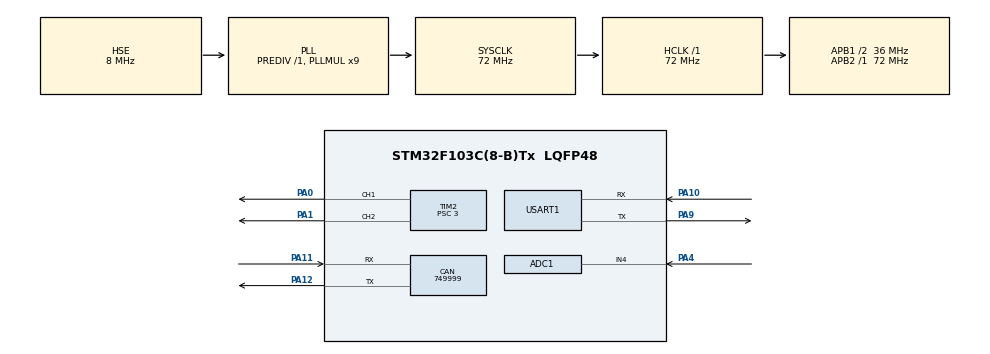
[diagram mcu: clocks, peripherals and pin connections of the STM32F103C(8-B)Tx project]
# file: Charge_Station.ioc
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ADC1.Channel-4\#ChannelRegularConversion=ADC_CHANNEL_4
ADC1.ContinuousConvMode=DISABLE
ADC1.EnableAnalogWatchDog=true
ADC1.EnableInjectedConversion=DISABLE
ADC1.EnableRegularConversion=ENABLE
ADC1.ExternalTrigConv=ADC_EXTERNALTRIGCONV_T4_CC4
ADC1.InjNumberOfConversion=1
ADC1.NbrOfConversion=1
ADC1.NbrOfConversionFlag=1
ADC1.Rank-4\#ChannelRegularConversion=1
ADC1.SamplingTime-4\#ChannelRegularConversion=ADC_SAMPLETIME_1CYCLE_5
ADC1.WatchdogChannel=ADC_CHANNEL_4
ADC1.master=1
CAN.BS1=CAN_BS1_1TQ
CAN.BS2=CAN_BS2_1TQ
CAN.CalculateBaudRate=749999
CAN.CalculateTimeBit=1333
CAN.CalculateTimeQuantum=444.44444444444446
Dma.ADC1.0.Direction=DMA_PERIPH_TO_MEMORY
Dma.ADC1.0.Instance=DMA1_Channel1
Dma.ADC1.0.MemDataAlignment=DMA_MDATAALIGN_HALFWORD
Dma.ADC1.0.MemInc=DMA_MINC_ENABLE
Dma.ADC1.0.Mode=DMA_CIRCULAR
Dma.ADC1.0.PeriphDataAlignment=DMA_PDATAALIGN_HALFWORD
Dma.ADC1.0.PeriphInc=DMA_PINC_DISABLE
Dma.ADC1.0.Priority=DMA_PRIORITY_LOW
Dma.Request0=ADC1
Mcu.Family=STM32F1
Mcu.Name=STM32F103C(8-B)Tx
Mcu.Package=LQFP48
NVIC.DMA1_Channel1_IRQn=true\:2\:0\:true\:false\:true\:false\:true\:true
NVIC.PriorityGroup=NVIC_PRIORITYGROUP_4
PA0-WKUP.Signal=S_TIM2_CH1_ETR
PA1.Signal=S_TIM2_CH2
PA10.Mode=Asynchronous
PA10.Signal=USART1_RX
PA11.Mode=CAN_Activate
PA11.Signal=CAN_RX
PA12.Mode=CAN_Activate
PA12.Signal=CAN_TX
PA4.Signal=ADCx_IN4
PA9.Mode=Asynchronous
PA9.Signal=USART1_TX
PD0-OSC_IN.Mode=HSE-External-Oscillator
PD0-OSC_IN.Signal=RCC_OSC_IN
PD1-OSC_OUT.Mode=HSE-External-Oscillator
PD1-OSC_OUT.Signal=RCC_OSC_OUT
ProjectManager.HeapSize=0x200
ProjectManager.StackSize=0x400
ProjectManager.TargetToolchain=STM32CubeIDE
RCC.ADCPresc=RCC_ADCPCLK2_DIV6
RCC.AHBFreq_Value=72000000
RCC.APB1CLKDivider=RCC_HCLK_DIV2
RCC.APB1Freq_Value=36000000
RCC.APB1TimFreq_Value=72000000
RCC.APB2Freq_Value=72000000
RCC.APB2TimFreq_Value=72000000
RCC.HCLKFreq_Value=72000000
RCC.PLLMUL=RCC_PLL_MUL9
RCC.PLLSourceVirtual=RCC_PLLSOURCE_HSE
RCC.SYSCLKFreq_VALUE=72000000
RCC.SYSCLKSource=RCC_SYSCLKSOURCE_PLLCLK
RCC.USBFreq_Value=72000000
SH.ADCx_IN4.0=ADC1_IN4,IN4
SH.S_TIM2_CH1_ETR.0=TIM2_CH1,PWM Generation1 CH1
SH.S_TIM2_CH2.0=TIM2_CH2,PWM Generation2 CH2
TIM2.Channel-PWM\ Generation1\ CH1=TIM_CHANNEL_1
TIM2.Channel-PWM\ Generation2\ CH2=TIM_CHANNEL_2
TIM2.CounterMode=TIM_COUNTERMODE_CENTERALIGNED1
TIM2.OCPolarity_1=TIM_OCPOLARITY_LOW
TIM2.OCPolarity_2=TIM_OCPOLARITY_HIGH
TIM2.Period=359
TIM2.Prescaler=3
TIM3.Period=65535
TIM3.Prescaler=35
TIM4.Channel-Output\ Compare4\ No\ Output=TIM_CHANNEL_4
TIM4.OCMode_4=TIM_OCMODE_TOGGLE
TIM4.Period=359
USART1.VirtualMode=VM_ASYNC
VP_TIM2_VS_ClockSourceINT.Mode=Internal
VP_TIM3_VS_ClockSourceINT.Mode=Internal
VP_TIM4_VS_no_output4.Mode=Output Compare4 No Output
board=custom

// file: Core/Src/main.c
/* USER CODE BEGIN Header */
/**
  ******************************************************************************
  * @file           : main.c
  * @brief          : Main program body
  ******************************************************************************
  * @attention
  *
  * Copyright (c) 2023 STMicroelectronics.
  * All rights reserved.
  *
  * This software is licensed under terms that can be found in the LICENSE file
  * in the root directory of this software component.
  * If no LICENSE file comes with this software, it is provided AS-IS.
  *
  ******************************************************************************
  */
/* USER CODE END Header */
#include "main.h"

/* USER CODE BEGIN Includes */
#include "ConfigADC.h"
#include "pid.h"
/* USER CODE END Includes */

/* USER CODE BEGIN PTD */
PID_TypeDef VoltagePID;
/* USER CODE END PTD */

/* USER CODE BEGIN PD */
double LOW_VOLTAGE = 0;
double HIGH_VOLTAGE = 0.96;
double UNIT_DUTY_CYCLE = 162/0.96;
/* USER CODE END PD */

ADC_HandleTypeDef hadc1;
DMA_HandleTypeDef hdma_adc1;

CAN_HandleTypeDef hcan;

TIM_HandleTypeDef htim2;
TIM_HandleTypeDef htim3;
TIM_HandleTypeDef htim4;

UART_HandleTypeDef huart1;

/* USER CODE BEGIN PV */
uint16_t time_us = 0;
float tempDutyCycle = 0;
double inputVoltageADC;
double outputVoltageADC;
double setpointVoltageADC = 0.8;
volatile uint16_t data[10] = {0,};
/* USER CODE END PV */

void SystemClock_Config(void);
static void MX_GPIO_Init(void);
static void MX_DMA_Init(void);
static void MX_CAN_Init(void);
static void MX_TIM2_Init(void);
static void MX_ADC1_Init(void);
static void MX_TIM4_Init(void);
static void MX_TIM3_Init(void);
static void MX_USART1_UART_Init(void);

/* USER CODE BEGIN 0 */
void Update_Duty_Cycle(uint16_t DutyCycle);

/* USER CODE END 0 */

int main(void)
{

  /* MCU Configuration--------------------------------------------------------*/

  /* Reset of all peripherals, Initializes the Flash interface and the Systick. */
  HAL_Init();

  /* Configure the system clock */
  SystemClock_Config();

  /* Initialize all configured peripherals */
  MX_GPIO_Init();
  MX_DMA_Init();
  MX_CAN_Init();
  MX_TIM2_Init();
  MX_ADC1_Init();
  MX_TIM4_Init();
  MX_TIM3_Init();
  MX_USART1_UART_Init();
  /* USER CODE BEGIN 2 */
  //Update_Duty_Cycle(50);

  PID(&VoltagePID, &inputVoltageADC, &outputVoltageADC, &setpointVoltageADC, 0.5, 1000, 0.000001, _PID_P_ON_E, _PID_CD_DIRECT);
  PID_SetMode(&VoltagePID, _PID_MODE_AUTOMATIC);
  PID_SetSampleTime(&VoltagePID, 40);
  PID_SetOutputLimits(&VoltagePID, LOW_VOLTAGE, HIGH_VOLTAGE);

  HAL_ADCEx_Calibration_Start(&hadc1);
  HAL_ADC_Start_DMA(&hadc1, (uint32_t*)&data, 10);
  HAL_TIM_OC_Start(&htim4, TIM_CHANNEL_4);

  HAL_TIM_Base_Start(&htim3);
  HAL_TIM_PWM_Start(&htim2, TIM_CHANNEL_1);
  HAL_TIM_PWM_Start(&htim2, TIM_CHANNEL_2);
  /* USER CODE END 2 */

  /* Infinite loop */
  while (1)
  {

  }
}

void SystemClock_Config(void)
{
  RCC_OscInitTypeDef RCC_OscInitStruct = {0};
  RCC_ClkInitTypeDef RCC_ClkInitStruct = {0};
  RCC_PeriphCLKInitTypeDef PeriphClkInit = {0};

  /** Initializes the RCC Oscillators according to the specified parameters
  * in the RCC_OscInitTypeDef structure.
  */
  RCC_OscInitStruct.OscillatorType = RCC_OSCILLATORTYPE_HSE;
  RCC_OscInitStruct.HSEState = RCC_HSE_ON;
  RCC_OscInitStruct.HSEPredivValue = RCC_HSE_PREDIV_DIV1;
  RCC_OscInitStruct.HSIState = RCC_HSI_ON;
  RCC_OscInitStruct.PLL.PLLState = RCC_PLL_ON;
  RCC_OscInitStruct.PLL.PLLSource = RCC_PLLSOURCE_HSE;
  RCC_OscInitStruct.PLL.PLLMUL = RCC_PLL_MUL9;
  if (HAL_RCC_OscConfig(&RCC_OscInitStruct) != HAL_OK)
  {
    Error_Handler();
  }

  /** Initializes the CPU, AHB and APB buses clocks
  */
  RCC_ClkInitStruct.ClockType = RCC_CLOCKTYPE_HCLK|RCC_CLOCKTYPE_SYSCLK
                              |RCC_CLOCKTYPE_PCLK1|RCC_CLOCKTYPE_PCLK2;
  RCC_ClkInitStruct.SYSCLKSource = RCC_SYSCLKSOURCE_PLLCLK;
  RCC_ClkInitStruct.AHBCLKDivider = RCC_SYSCLK_DIV1;
  RCC_ClkInitStruct.APB1CLKDivider = RCC_HCLK_DIV2;
  RCC_ClkInitStruct.APB2CLKDivider = RCC_HCLK_DIV1;

  if (HAL_RCC_ClockConfig(&RCC_ClkInitStruct, FLASH_LATENCY_2) != HAL_OK)
  {
    Error_Handler();
  }
  PeriphClkInit.PeriphClockSelection = RCC_PERIPHCLK_ADC;
  PeriphClkInit.AdcClockSelection = RCC_ADCPCLK2_DIV6;
  if (HAL_RCCEx_PeriphCLKConfig(&PeriphClkInit) != HAL_OK)
  {
    Error_Handler();
  }
}

static void MX_ADC1_Init(void)
{

  ADC_AnalogWDGConfTypeDef AnalogWDGConfig = {0};
  ADC_ChannelConfTypeDef sConfig = {0};

  /** Common config
  */
  hadc1.Instance = ADC1;
  hadc1.Init.ScanConvMode = ADC_SCAN_DISABLE;
  hadc1.Init.ContinuousConvMode = DISABLE;
  hadc1.Init.DiscontinuousConvMode = DISABLE;
  hadc1.Init.ExternalTrigConv = ADC_EXTERNALTRIGCONV_T4_CC4;
  hadc1.Init.DataAlign = ADC_DATAALIGN_RIGHT;
  hadc1.Init.NbrOfConversion = 1;
  if (HAL_ADC_Init(&hadc1) != HAL_OK)
  {
    Error_Handler();
  }

  /** Configure Analog WatchDog 1
  */
  AnalogWDGConfig.WatchdogMode = ADC_ANALOGWATCHDOG_SINGLE_REG;
  AnalogWDGConfig.HighThreshold = 0;
  AnalogWDGConfig.LowThreshold = 0;
  AnalogWDGConfig.Channel = ADC_CHANNEL_4;
  AnalogWDGConfig.ITMode = DISABLE;
  if (HAL_ADC_AnalogWDGConfig(&hadc1, &AnalogWDGConfig) != HAL_OK)
  {
    Error_Handler();
  }

  /** Configure Regular Channel
  */
  sConfig.Channel = ADC_CHANNEL_4;
  sConfig.Rank = ADC_REGULAR_RANK_1;
  sConfig.SamplingTime = ADC_SAMPLETIME_1CYCLE_5;
  if (HAL_ADC_ConfigChannel(&hadc1, &sConfig) != HAL_OK)
  {
    Error_Handler();
  }

}

static void MX_CAN_Init(void)
{

  hcan.Instance = CAN1;
  hcan.Init.Prescaler = 16;
  hcan.Init.Mode = CAN_MODE_NORMAL;
  hcan.Init.SyncJumpWidth = CAN_SJW_1TQ;
  hcan.Init.TimeSeg1 = CAN_BS1_1TQ;
  hcan.Init.TimeSeg2 = CAN_BS2_1TQ;
  hcan.Init.TimeTriggeredMode = DISABLE;
  hcan.Init.AutoBusOff = DISABLE;
  hcan.Init.AutoWakeUp = DISABLE;
  hcan.Init.AutoRetransmission = DISABLE;
  hcan.Init.ReceiveFifoLocked = DISABLE;
  hcan.Init.TransmitFifoPriority = DISABLE;
  if (HAL_CAN_Init(&hcan) != HAL_OK)
  {
    Error_Handler();
  }

}

static void MX_TIM2_Init(void)
{

  TIM_ClockConfigTypeDef sClockSourceConfig = {0};
  TIM_MasterConfigTypeDef sMasterConfig = {0};
  TIM_OC_InitTypeDef sConfigOC = {0};

  htim2.Instance = TIM2;
  htim2.Init.Prescaler = 3;
  htim2.Init.CounterMode = TIM_COUNTERMODE_CENTERALIGNED1;
  htim2.Init.Period = 359;
  htim2.Init.ClockDivision = TIM_CLOCKDIVISION_DIV1;
  htim2.Init.AutoReloadPreload = TIM_AUTORELOAD_PRELOAD_DISABLE;
  if (HAL_TIM_Base_Init(&htim2) != HAL_OK)
  {
    Error_Handler();
  }
  sClockSourceConfig.ClockSource = TIM_CLOCKSOURCE_INTERNAL;
  if (HAL_TIM_ConfigClockSource(&htim2, &sClockSourceConfig) != HAL_OK)
  {
    Error_Handler();
  }
  if (HAL_TIM_PWM_Init(&htim2) != HAL_OK)
  {
    Error_Handler();
  }
  sMasterConfig.MasterOutputTrigger = TIM_TRGO_RESET;
  sMasterConfig.MasterSlaveMode = TIM_MASTERSLAVEMODE_DISABLE;
  if (HAL_TIMEx_MasterConfigSynchronization(&htim2, &sMasterConfig) != HAL_OK)
  {
    Error_Handler();
  }
  sConfigOC.OCMode = TIM_OCMODE_PWM1;
  sConfigOC.Pulse = 0;
  sConfigOC.OCPolarity = TIM_OCPOLARITY_LOW;
  sConfigOC.OCFastMode = TIM_OCFAST_DISABLE;
  if (HAL_TIM_PWM_ConfigChannel(&htim2, &sConfigOC, TIM_CHANNEL_1) != HAL_OK)
  {
    Error_Handler();
  }
  sConfigOC.OCPolarity = TIM_OCPOLARITY_HIGH;
  if (HAL_TIM_PWM_ConfigChannel(&htim2, &sConfigOC, TIM_CHANNEL_2) != HAL_OK)
  {
    Error_Handler();
  }
  HAL_TIM_MspPostInit(&htim2);

}

static void MX_TIM3_Init(void)
{

  TIM_ClockConfigTypeDef sClockSourceConfig = {0};
  TIM_MasterConfigTypeDef sMasterConfig = {0};

  htim3.Instance = TIM3;
  htim3.Init.Prescaler = 35;
  htim3.Init.CounterMode = TIM_COUNTERMODE_UP;
  htim3.Init.Period = 65535;
  htim3.Init.ClockDivision = TIM_CLOCKDIVISION_DIV1;
  htim3.Init.AutoReloadPreload = TIM_AUTORELOAD_PRELOAD_DISABLE;
  if (HAL_TIM_Base_Init(&htim3) != HAL_OK)
  {
    Error_Handler();
  }
  sClockSourceConfig.ClockSource = TIM_CLOCKSOURCE_INTERNAL;
  if (HAL_TIM_ConfigClockSource(&htim3, &sClockSourceConfig) != HAL_OK)
  {
    Error_Handler();
  }
  sMasterConfig.MasterOutputTrigger = TIM_TRGO_RESET;
  sMasterConfig.MasterSlaveMode = TIM_MASTERSLAVEMODE_DISABLE;
  if (HAL_TIMEx_MasterConfigSynchronization(&htim3, &sMasterConfig) != HAL_OK)
  {
    Error_Handler();
  }

}

static void MX_TIM4_Init(void)
{

  TIM_MasterConfigTypeDef sMasterConfig = {0};
  TIM_OC_InitTypeDef sConfigOC = {0};

  htim4.Instance = TIM4;
  htim4.Init.Prescaler = 0;
  htim4.Init.CounterMode = TIM_COUNTERMODE_UP;
  htim4.Init.Period = 143;
  htim4.Init.ClockDivision = TIM_CLOCKDIVISION_DIV1;
  htim4.Init.AutoReloadPreload = TIM_AUTORELOAD_PRELOAD_DISABLE;
  if (HAL_TIM_OC_Init(&htim4) != HAL_OK)
  {
    Error_Handler();
  }
  sMasterConfig.MasterOutputTrigger = TIM_TRGO_RESET;
  sMasterConfig.MasterSlaveMode = TIM_MASTERSLAVEMODE_DISABLE;
  if (HAL_TIMEx_MasterConfigSynchronization(&htim4, &sMasterConfig) != HAL_OK)
  {
    Error_Handler();
  }
  sConfigOC.OCMode = TIM_OCMODE_TOGGLE;
  sConfigOC.Pulse = 0;
  sConfigOC.OCPolarity = TIM_OCPOLARITY_HIGH;
  sConfigOC.OCFastMode = TIM_OCFAST_DISABLE;
  if (HAL_TIM_OC_ConfigChannel(&htim4, &sConfigOC, TIM_CHANNEL_4) != HAL_OK)
  {
    Error_Handler();
  }

}

static void MX_USART1_UART_Init(void)
{

  huart1.Instance = USART1;
  huart1.Init.BaudRate = 115200;
  huart1.Init.WordLength = UART_WORDLENGTH_8B;
  huart1.Init.StopBits = UART_STOPBITS_1;
  huart1.Init.Parity = UART_PARITY_NONE;
  huart1.Init.Mode = UART_MODE_TX_RX;
  huart1.Init.HwFlowCtl = UART_HWCONTROL_NONE;
  huart1.Init.OverSampling = UART_OVERSAMPLING_16;
  if (HAL_UART_Init(&huart1) != HAL_OK)
  {
    Error_Handler();
  }

}

static void MX_DMA_Init(void)
{

  /* DMA controller clock enable */
  __HAL_RCC_DMA1_CLK_ENABLE();

  /* DMA interrupt init */
  /* DMA1_Channel1_IRQn interrupt configuration */
  HAL_NVIC_SetPriority(DMA1_Channel1_IRQn, 2, 0);
  HAL_NVIC_EnableIRQ(DMA1_Channel1_IRQn);

}

static void MX_GPIO_Init(void)
{

  /* GPIO Ports Clock Enable */
  __HAL_RCC_GPIOD_CLK_ENABLE();
  __HAL_RCC_GPIOA_CLK_ENABLE();

}

/* USER CODE BEGIN 4 */
void Update_Duty_Cycle(uint16_t DutyCycle)
{
    TIM2->CCR2=DutyCycle;
    TIM2->CCR1=TIM2->ARR-TIM2->CCR2;
//    TIM3->CNT;
}

uint16_t GetTickUs()
{
    return TIM3->CNT;
}

void HAL_ADC_ConvCpltCallback(ADC_HandleTypeDef* hadc)
{
    if(hadc->Instance == ADC1)
    {
    	uint16_t averageData = averageAll(data);
    	inputVoltageADC = adcToVoltage(averageData);
    	PID_Compute(&VoltagePID);
    	tempDutyCycle = outputVoltageADC*UNIT_DUTY_CYCLE;
    	Update_Duty_Cycle(tempDutyCycle);
    	//Update_Duty_Cycle(162);
    }
}
/* USER CODE END 4 */

void Error_Handler(void)
{
  __disable_irq();
  while (1)
  {
  }
}
